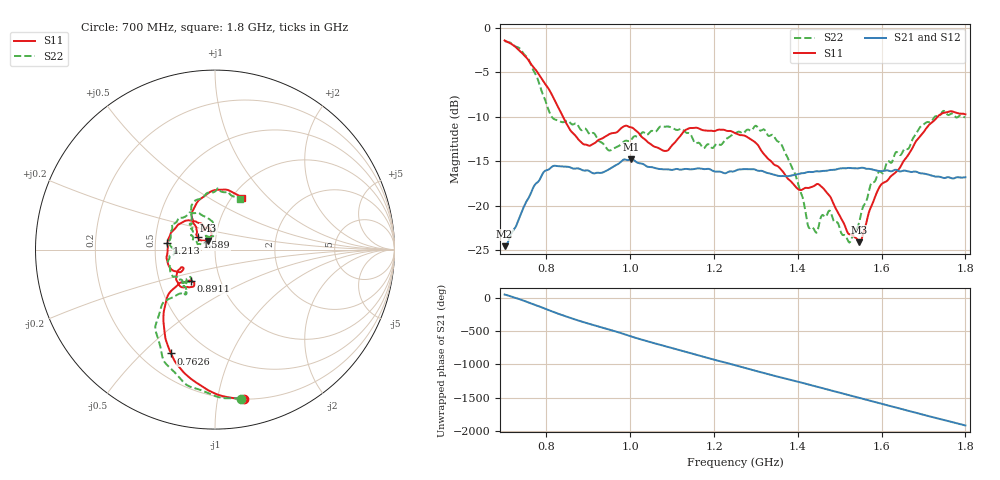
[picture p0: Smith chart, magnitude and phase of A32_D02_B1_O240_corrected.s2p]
! Created with skrf 1.9.0 (http://scikit-rf.org).
# Hz S RI R 50.0
!freq ReS11 ImS11 ReS21 ImS21 ReS12 ImS12 ReS22 ImS22
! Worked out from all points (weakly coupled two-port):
!   1601 points, 700 MHz to 1.8 GHz, reference 50 ohm
!   highest |S21| = -14.77 dB at 1.002 GHz (marker M1); lowest = -24.5 dB at 700 MHz (marker M2)
!   lowest |S11| = -24.1 dB at 1.547 GHz (marker M3), VSWR 1.13, Z = 46.2 + j4.68 ohm
!   |S11| at or under -10 dB: 839.4 MHz to 1.734 GHz (894.2 MHz wide, 69.5 % of centre)
!   |S22| runs from -24.1 to -1.5 dB; largest |S21 - S12| = 0.0034
!   S11 on the Smith chart (normalised r, x): 700 MHz: 0.20, -1.19; 762.6 MHz: 0.32, -0.61; 891.1 MHz: 0.72, -0.27; 1.213 GHz: 0.58, +0.04; 1.589 GHz: 0.82, +0.12; 1.8 GHz: 1.11, +0.72
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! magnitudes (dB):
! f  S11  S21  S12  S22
! 700 MHz  -1.4  -24.5  -24.3  -1.5
! 762.6 MHz  -4.0  -18.6  -18.6  -4.1
! 813.4 MHz  -7.6  -15.6  -15.6  -10.1
! 883.6 MHz  -12.9  -15.9  -15.8  -11.5
! 891.1 MHz  -13.1  -16.0  -16.0  -11.3
! 949.6 MHz  -12.0  -15.9  -15.9  -13.8
! 1.002 GHz  -11.2  -14.8  -14.9  -12.6
! 1.067 GHz  -13.5  -15.8  -15.8  -11.3
! 1.14 GHz  -11.3  -15.9  -15.9  -11.8
! 1.213 GHz  -11.4  -16.2  -16.1  -13.1
! 1.25 GHz  -11.8  -16.1  -16.0  -11.9
! 1.3 GHz  -13.0  -16.0  -16.0  -11.0
! 1.359 GHz  -15.9  -16.7  -16.6  -12.9
! 1.401 GHz  -18.1  -16.4  -16.4  -17.7
! 1.434 GHz  -17.9  -16.2  -16.2  -22.4
! 1.476 GHz  -18.8  -16.0  -16.0  -20.5
! 1.523 GHz  -23.2  -15.7  -15.8  -24.1
! 1.547 GHz  -24.1  -15.8  -15.8  -21.8
! 1.589 GHz  -18.5  -16.0  -16.0  -16.7
! 1.617 GHz  -17.0  -16.1  -16.0  -15.0
! 1.737 GHz  -9.8  -16.7  -16.8  -9.9
! 1.8 GHz  -9.7  -16.8  -16.8  -10.1
